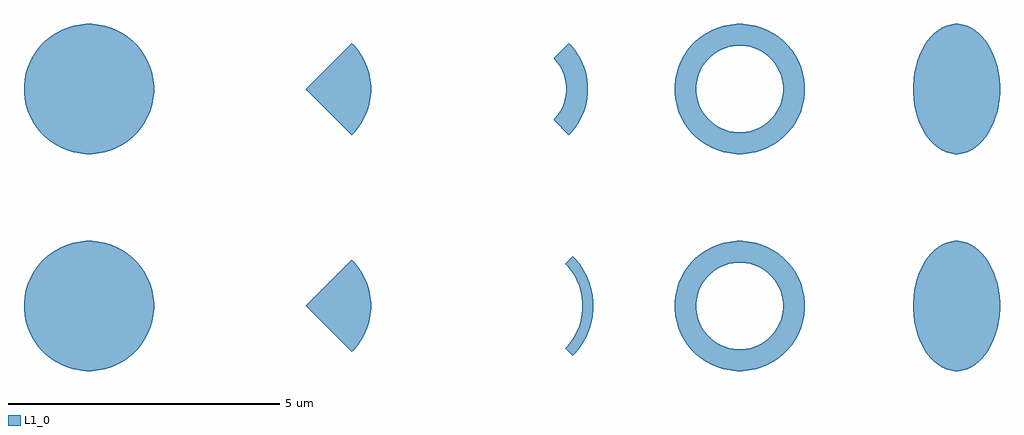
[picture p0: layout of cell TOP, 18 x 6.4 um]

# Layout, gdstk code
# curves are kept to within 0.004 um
import gdstk
lib = gdstk.Library(unit=1e-6, precision=1e-09)
def P(c, l, *ps):  # polygons
    for p in ps: c.add(gdstk.Polygon(p, *l))
L1_0 = (1, 0)

circle_1 = lib.new_cell('CIRCLE$1')
P(circle_1, L1_0, [(-0.059,-1.2),(-0.176,-1.188),(-0.292,-1.165),(-0.405,-1.131),(-0.514,-1.086),(-0.618,-1.031),(-0.716,-0.965),(-0.807,-0.89),(-0.89,-0.807),(-0.965,-0.716),(-1.031,-0.618),(-1.086,-0.514),(-1.131,-0.405),(-1.165,-0.292),(-1.188,-0.176),(-1.2,-0.059),(-1.2,0.059),(-1.188,0.176),(-1.165,0.292),(-1.131,0.405),(-1.086,0.514),(-1.031,0.618),(-0.965,0.716),(-0.89,0.807),(-0.807,0.89),(-0.716,0.965),(-0.618,1.031),(-0.514,1.086),(-0.405,1.131),(-0.292,1.165),(-0.176,1.188),(-0.059,1.2),(0.059,1.2),(0.176,1.188),(0.292,1.165),(0.405,1.131),(0.514,1.086),(0.618,1.031),(0.716,0.965),(0.807,0.89),(0.89,0.807),(0.965,0.716),(1.031,0.618),(1.086,0.514),(1.131,0.405),(1.165,0.292),(1.188,0.176),(1.2,0.059),(1.2,-0.059),(1.188,-0.176),(1.165,-0.292),(1.131,-0.405),(1.086,-0.514),(1.031,-0.618),(0.965,-0.716),(0.89,-0.807),(0.807,-0.89),(0.716,-0.965),(0.618,-1.031),(0.514,-1.086),(0.405,-1.131),(0.292,-1.165),(0.176,-1.188),(0.059,-1.2)])

pie_1 = lib.new_cell('PIE$1')
P(pie_1, L1_0, [(0.849,-0.849),(0,0),(0.849,0.849),(0.965,0.716),(1.031,0.618),(1.086,0.514),(1.131,0.405),(1.165,0.292),(1.188,0.176),(1.2,0.059),(1.2,-0.059),(1.188,-0.176),(1.165,-0.292),(1.131,-0.405),(1.086,-0.514),(1.031,-0.618),(0.965,-0.716)])

arc_1 = lib.new_cell('ARC$1')
P(arc_1, L1_0, [(0.919,-0.919),(0.778,-0.778),(0.885,-0.656),(0.945,-0.566),(0.996,-0.471),(1.037,-0.371),(1.068,-0.268),(1.089,-0.162),(1.1,-0.054),(1.1,0.054),(1.089,0.162),(1.068,0.268),(1.037,0.371),(0.996,0.471),(0.945,0.566),(0.885,0.656),(0.778,0.778),(0.919,0.919),(0.964,0.874),(1.045,0.775),(1.116,0.669),(1.177,0.556),(1.225,0.438),(1.263,0.316),(1.287,0.191),(1.3,0.064),(1.3,-0.064),(1.287,-0.191),(1.263,-0.316),(1.225,-0.438),(1.177,-0.556),(1.116,-0.669),(1.045,-0.775),(0.964,-0.874)])

donut = lib.new_cell('DONUT')
P(donut, L1_0, [(-0.059,-1.2),(-0.176,-1.188),(-0.292,-1.165),(-0.405,-1.131),(-0.514,-1.086),(-0.618,-1.031),(-0.716,-0.965),(-0.807,-0.89),(-0.89,-0.807),(-0.965,-0.716),(-1.031,-0.618),(-1.086,-0.514),(-1.131,-0.405),(-1.165,-0.292),(-1.188,-0.176),(-1.2,-0.059),(-1.2,0),(-0.8,0),(-0.792,-0.118),(-0.777,-0.195),(-0.754,-0.27),(-0.687,-0.412),(-0.593,-0.538),(-0.538,-0.593),(-0.412,-0.687),(-0.27,-0.754),(-0.195,-0.777),(-0.118,-0.792),(0.039,-0.8),(0.195,-0.777),(0.27,-0.754),(0.412,-0.687),(0.538,-0.593),(0.593,-0.538),(0.687,-0.412),(0.754,-0.27),(0.777,-0.195),(0.8,-0.039),(0.8,0.039),(0.777,0.195),(0.754,0.27),(0.687,0.412),(0.593,0.538),(0.538,0.593),(0.412,0.687),(0.27,0.754),(0.195,0.777),(0.039,0.8),(-0.039,0.8),(-0.195,0.777),(-0.27,0.754),(-0.412,0.687),(-0.538,0.593),(-0.643,0.477),(-0.687,0.412),(-0.754,0.27),(-0.777,0.195),(-0.792,0.118),(-0.8,0),(-1.2,0),(-1.2,0.059),(-1.188,0.176),(-1.165,0.292),(-1.131,0.405),(-1.086,0.514),(-1.031,0.618),(-0.965,0.716),(-0.89,0.807),(-0.807,0.89),(-0.716,0.965),(-0.618,1.031),(-0.514,1.086),(-0.405,1.131),(-0.292,1.165),(-0.176,1.188),(-0.059,1.2),(0.059,1.2),(0.176,1.188),(0.292,1.165),(0.405,1.131),(0.514,1.086),(0.618,1.031),(0.716,0.965),(0.807,0.89),(0.89,0.807),(0.965,0.716),(1.031,0.618),(1.086,0.514),(1.131,0.405),(1.165,0.292),(1.188,0.176),(1.2,0.059),(1.2,-0.059),(1.188,-0.176),(1.165,-0.292),(1.131,-0.405),(1.086,-0.514),(1.031,-0.618),(0.965,-0.716),(0.89,-0.807),(0.807,-0.89),(0.716,-0.965),(0.618,-1.031),(0.514,-1.086),(0.405,-1.131),(0.292,-1.165),(0.176,-1.188),(0.059,-1.2)])

circle = lib.new_cell('CIRCLE')
P(circle, L1_0, [(-0.059,-1.2),(-0.176,-1.188),(-0.292,-1.165),(-0.405,-1.131),(-0.514,-1.086),(-0.618,-1.031),(-0.716,-0.965),(-0.807,-0.89),(-0.89,-0.807),(-0.965,-0.716),(-1.031,-0.618),(-1.086,-0.514),(-1.131,-0.405),(-1.165,-0.292),(-1.188,-0.176),(-1.2,-0.059),(-1.2,0.059),(-1.188,0.176),(-1.165,0.292),(-1.131,0.405),(-1.086,0.514),(-1.031,0.618),(-0.965,0.716),(-0.89,0.807),(-0.807,0.89),(-0.716,0.965),(-0.618,1.031),(-0.514,1.086),(-0.405,1.131),(-0.292,1.165),(-0.176,1.188),(-0.059,1.2),(0.059,1.2),(0.176,1.188),(0.292,1.165),(0.405,1.131),(0.514,1.086),(0.618,1.031),(0.716,0.965),(0.807,0.89),(0.89,0.807),(0.965,0.716),(1.031,0.618),(1.086,0.514),(1.131,0.405),(1.165,0.292),(1.188,0.176),(1.2,0.059),(1.2,-0.059),(1.188,-0.176),(1.165,-0.292),(1.131,-0.405),(1.086,-0.514),(1.031,-0.618),(0.965,-0.716),(0.89,-0.807),(0.807,-0.89),(0.716,-0.965),(0.618,-1.031),(0.514,-1.086),(0.405,-1.131),(0.292,-1.165),(0.176,-1.188),(0.059,-1.2)])

pie = lib.new_cell('PIE')
P(pie, L1_0, [(0.849,-0.849),(0,0),(0.849,0.849),(0.965,0.716),(1.031,0.618),(1.086,0.514),(1.131,0.405),(1.165,0.292),(1.188,0.176),(1.2,0.059),(1.2,-0.059),(1.188,-0.176),(1.165,-0.292),(1.131,-0.405),(1.086,-0.514),(1.031,-0.618),(0.965,-0.716)])

arc = lib.new_cell('ARC')
P(arc, L1_0, [(0.849,-0.849),(0.566,-0.566),(0.643,-0.477),(0.687,-0.412),(0.724,-0.342),(0.777,-0.195),(0.8,-0.039),(0.792,0.118),(0.777,0.195),(0.754,0.27),(0.687,0.412),(0.643,0.477),(0.566,0.566),(0.849,0.849),(0.965,0.716),(1.031,0.618),(1.086,0.514),(1.131,0.405),(1.165,0.292),(1.188,0.176),(1.2,0.059),(1.2,-0.059),(1.188,-0.176),(1.165,-0.292),(1.131,-0.405),(1.086,-0.514),(1.031,-0.618),(0.965,-0.716)])

donut_1 = lib.new_cell('DONUT$1')
P(donut_1, L1_0, [(-0.059,-1.2),(-0.176,-1.188),(-0.292,-1.165),(-0.405,-1.131),(-0.514,-1.086),(-0.618,-1.031),(-0.716,-0.965),(-0.807,-0.89),(-0.89,-0.807),(-0.965,-0.716),(-1.031,-0.618),(-1.086,-0.514),(-1.131,-0.405),(-1.165,-0.292),(-1.188,-0.176),(-1.2,-0.059),(-1.2,0),(-0.8,0),(-0.792,-0.118),(-0.777,-0.195),(-0.754,-0.27),(-0.687,-0.412),(-0.593,-0.538),(-0.538,-0.593),(-0.412,-0.687),(-0.27,-0.754),(-0.195,-0.777),(-0.118,-0.792),(0.039,-0.8),(0.195,-0.777),(0.27,-0.754),(0.412,-0.687),(0.538,-0.593),(0.593,-0.538),(0.687,-0.412),(0.754,-0.27),(0.777,-0.195),(0.8,-0.039),(0.8,0.039),(0.777,0.195),(0.754,0.27),(0.687,0.412),(0.593,0.538),(0.538,0.593),(0.412,0.687),(0.27,0.754),(0.195,0.777),(0.039,0.8),(-0.039,0.8),(-0.195,0.777),(-0.27,0.754),(-0.412,0.687),(-0.538,0.593),(-0.643,0.477),(-0.687,0.412),(-0.754,0.27),(-0.777,0.195),(-0.792,0.118),(-0.8,0),(-1.2,0),(-1.2,0.059),(-1.188,0.176),(-1.165,0.292),(-1.131,0.405),(-1.086,0.514),(-1.031,0.618),(-0.965,0.716),(-0.89,0.807),(-0.807,0.89),(-0.716,0.965),(-0.618,1.031),(-0.514,1.086),(-0.405,1.131),(-0.292,1.165),(-0.176,1.188),(-0.059,1.2),(0.059,1.2),(0.176,1.188),(0.292,1.165),(0.405,1.131),(0.514,1.086),(0.618,1.031),(0.716,0.965),(0.807,0.89),(0.89,0.807),(0.965,0.716),(1.031,0.618),(1.086,0.514),(1.131,0.405),(1.165,0.292),(1.188,0.176),(1.2,0.059),(1.2,-0.059),(1.188,-0.176),(1.165,-0.292),(1.131,-0.405),(1.086,-0.514),(1.031,-0.618),(0.965,-0.716),(0.89,-0.807),(0.807,-0.89),(0.716,-0.965),(0.618,-1.031),(0.514,-1.086),(0.405,-1.131),(0.292,-1.165),(0.176,-1.188),(0.059,-1.2)])

ellipse_1 = lib.new_cell('ELLIPSE$1')
P(ellipse_1, L1_0, [(-0.039,-1.2),(-0.118,-1.188),(-0.195,-1.165),(-0.27,-1.131),(-0.342,-1.086),(-0.412,-1.031),(-0.477,-0.965),(-0.538,-0.89),(-0.593,-0.807),(-0.643,-0.716),(-0.687,-0.618),(-0.724,-0.514),(-0.754,-0.405),(-0.777,-0.292),(-0.792,-0.176),(-0.8,-0.059),(-0.8,0.059),(-0.777,0.292),(-0.724,0.514),(-0.687,0.618),(-0.643,0.716),(-0.593,0.807),(-0.538,0.89),(-0.477,0.965),(-0.412,1.031),(-0.342,1.086),(-0.27,1.131),(-0.195,1.165),(-0.118,1.188),(-0.039,1.2),(0.039,1.2),(0.118,1.188),(0.195,1.165),(0.27,1.131),(0.342,1.086),(0.412,1.031),(0.477,0.965),(0.538,0.89),(0.593,0.807),(0.643,0.716),(0.687,0.618),(0.724,0.514),(0.754,0.405),(0.777,0.292),(0.792,0.176),(0.8,0.059),(0.8,-0.059),(0.777,-0.292),(0.724,-0.514),(0.687,-0.618),(0.643,-0.716),(0.593,-0.807),(0.538,-0.89),(0.477,-0.965),(0.412,-1.031),(0.342,-1.086),(0.27,-1.131),(0.195,-1.165),(0.118,-1.188),(0.039,-1.2)])

ellipse = lib.new_cell('ELLIPSE')
P(ellipse, L1_0, [(-0.039,-1.2),(-0.118,-1.188),(-0.195,-1.165),(-0.27,-1.131),(-0.342,-1.086),(-0.412,-1.031),(-0.477,-0.965),(-0.538,-0.89),(-0.593,-0.807),(-0.643,-0.716),(-0.687,-0.618),(-0.724,-0.514),(-0.754,-0.405),(-0.777,-0.292),(-0.792,-0.176),(-0.8,-0.059),(-0.8,0.059),(-0.777,0.292),(-0.724,0.514),(-0.687,0.618),(-0.643,0.716),(-0.593,0.807),(-0.538,0.89),(-0.477,0.965),(-0.412,1.031),(-0.342,1.086),(-0.27,1.131),(-0.195,1.165),(-0.118,1.188),(-0.039,1.2),(0.039,1.2),(0.118,1.188),(0.195,1.165),(0.27,1.131),(0.342,1.086),(0.412,1.031),(0.477,0.965),(0.538,0.89),(0.593,0.807),(0.643,0.716),(0.687,0.618),(0.724,0.514),(0.754,0.405),(0.777,0.292),(0.792,0.176),(0.8,0.059),(0.8,-0.059),(0.777,-0.292),(0.724,-0.514),(0.687,-0.618),(0.643,-0.716),(0.593,-0.807),(0.538,-0.89),(0.477,-0.965),(0.412,-1.031),(0.342,-1.086),(0.27,-1.131),(0.195,-1.165),(0.118,-1.188),(0.039,-1.2)])

top = lib.new_cell('TOP')
top.add(gdstk.Reference(circle_1, (2,2)))
top.add(gdstk.Reference(pie_1, (6,2)))
top.add(gdstk.Reference(arc_1, (10,2)))
top.add(gdstk.Reference(donut, (14,2)))
top.add(gdstk.Reference(circle, (2,6)))
top.add(gdstk.Reference(pie, (6,6)))
top.add(gdstk.Reference(arc, (10,6)))
top.add(gdstk.Reference(donut_1, (14,6)))
top.add(gdstk.Reference(ellipse_1, (18,2)))
top.add(gdstk.Reference(ellipse, (18,6)))
top.add(gdstk.Label('DRAWN', (-1.68,1.79), layer=1, texttype=0))
top.add(gdstk.Label('GENERATED', (-1.68,5.89), layer=1, texttype=0))

lib.write_gds('TOP.gds')
